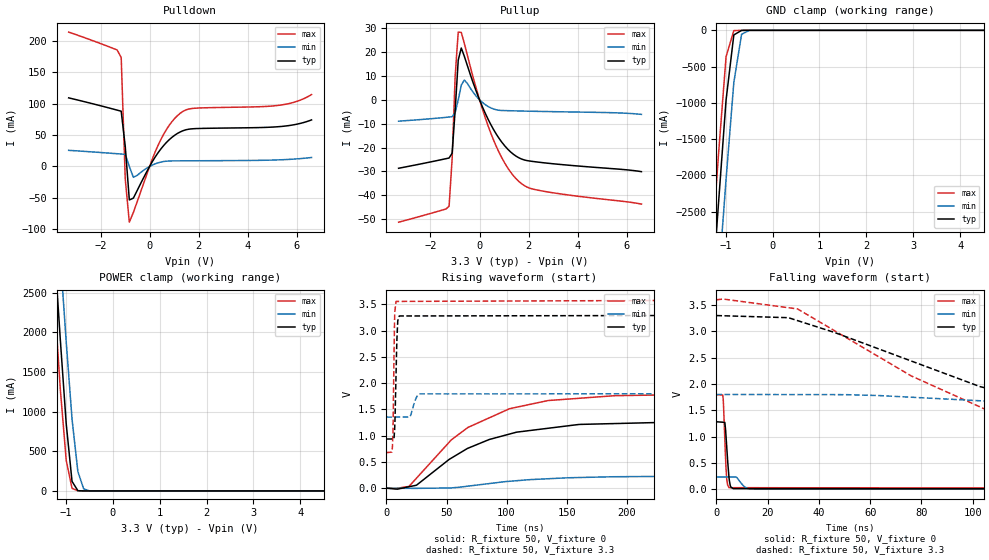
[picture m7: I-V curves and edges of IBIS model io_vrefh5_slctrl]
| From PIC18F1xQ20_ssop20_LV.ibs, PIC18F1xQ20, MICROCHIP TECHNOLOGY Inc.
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[Model] io_vrefh5_slctrl
Model_type I/O
Vinl  =  0.8
Vinh  =  2
| Capacitance   typ   min   max
C_comp   4.850306698388732e-12   4.837904529908394e-12   5.092470012429453e-12
[Model Spec]
| Subparameter   typ   min   max
Vinl   1.5   0.81   1.65
Vinh   3.6   1.89   3.85
Vmeas   2.5   1.35   2.75
| Variables   typ   min   max
[GND Clamp Reference]   0   0   0
[POWER Clamp Reference]   3.3   1.8   3.6
[Pulldown Reference]   0   0   0
[Pullup Reference]   3.3   1.8   3.6
[Temperature Range]   25   125   -40
[Voltage Range]   3.3   1.8   3.6
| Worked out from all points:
|   slope of the pulldown table from 0 to 0.495 V, typ, clamps not added: 16.7 ohm
|   slope of the pullup table from 0 to 0.495 V, typ, clamps not added: 44.8 ohm
|   GND clamp passes 1 mA (typ) near -0.66 V on its own axis
|   POWER clamp passes 1 mA (typ) near -0.65 V on its own axis
|   falling waveform, R_fixture 50, V_fixture 0: 20-80 % time 1.13ns typ, 2.45ns min, 903ps max; typ from 1.28 V to 0 V
|   falling waveform, R_fixture 50, V_fixture 3.3: 20-80 % time 93.3ns typ, 138ns min, 70.5ns max; typ from 3.3 V to 0.94 V
|   rising waveform, R_fixture 50, V_fixture 0: 20-80 % time 65.5ns typ, 69.6ns min, 63.2ns max; typ from 0 V to 1.28 V
|   rising waveform, R_fixture 50, V_fixture 3.3: 20-80 % time 1.48ns typ, 3.75ns min, 1.05ns max; typ from 0.936 V to 3.3 V
[GND Clamp]
| Voltage   I(typ)   I(min)   I(max)
-3.3V     -21.98A    -22.27A    -21.86A
-1.324V   -3.922A    -4.931A    -3.289A
-1.159V   -2.42A     -3.489A    -1.745A
-993.1mV  -960.5mA   -2.053A    -363.1mA
-827.6mV  -63.5mA    -718.7mA   -3.822mA
-662.1mV  -773.4uA   -54.56mA   -476.9uA
-496.6mV  -18.17uA   -720.2uA   -5.006uA
6.6V      0A         0A         0A
[POWER Clamp]
| Voltage   I(typ)   I(min)   I(max)
-3.3V     21.48A     21.8A      21.33A
-1.366V   4.118A     5.086A     3.518A
-1.241V   3.004A     4.014A     2.376A
-1.117V   1.891A     2.941A     1.268A
-993.1mV  844.7mA    1.878A     384.1mA
-869mV    120.2mA    905.4mA    32.61mA
-744.8mV  3.111mA    245mA      1.387mA
-620.7mV  347.3uA    25.54mA    378.5uA
-496.6mV  24.89uA    1.111mA    41.86uA
6.6V      0A         0A         0A
[Pulldown]
| Voltage   I(typ)   I(min)   I(max)
-3.3V     109.4mA    25.68mA    214.5mA
-1.324V   89.88mA    20.27mA    185.9mA
-1.159V   88.12mA    19.77mA    173.8mA
-993.1mV  31.88mA    19.25mA    -20.25mA
-827.6mV  -53.52mA   -38.86uA   -89.02mA
-662.1mV  -50.57mA   -17.43mA   -73.42mA
341.4mV   21.7mA     5.717mA    33.47mA
796.6mV   42.57mA    8.672mA    65.49mA
1.252V    55.15mA    8.913mA    85mA
1.821V    60.27mA    9.023mA    92.84mA
5.286V    63.53mA    10.51mA    97.64mA
6.6V      74.28mA    14.23mA    114.7mA
[Pullup]
| Voltage   I(typ)   I(min)   I(max)
-3.3V     -28.7mA    -8.944mA   -51.33mA
-1.241V   -24.41mA   -7.199mA   -44.6mA
-1.117V   -22.37mA   -7.062mA   -24.69mA
-993.1mV  -4.232mA   -5.311mA   10.1mA
-869mV    16.63mA    -60.81uA   28.44mA
-744.8mV  21.75mA    6.171mA    28.29mA
-620.7mV  18.28mA    8.311mA    23.71mA
455.2mV   -10.29mA   -3.355mA   -13.89mA
1.024V    -19.27mA   -4.499mA   -26.48mA
1.593V    -24.26mA   -4.657mA   -34.17mA
2.503V    -26.27mA   -4.856mA   -38.14mA
6.6V      -30.13mA   -6.092mA   -43.74mA
[Ramp]
dV/dt_r   0.768802/65.5176n  0.139526/69.6447n  1.07649/63.2451n
dV/dt_f   1.41629/93.3504n  0.266589/0.138413u  1.75185/70.5441n
R_load = 50
[Falling Waveform]
R_fixture = 50
V_fixture = 0
V_fixture_min = 0
V_fixture_max = 0
| Time   V(typ)   V(min)   V(max)
0s        1.281V     232.5mV    1.794V
2.511ns   1.272V     232.5mV    1.79V
2.833ns   1.271V     232.5mV    1.544V
3.309ns   1.269V     232.5mV    934.7mV
4.046ns   799.7mV    232.5mV    189.4mV
4.942ns   216.4mV    232.5mV    27.95mV
5.431ns   66.79mV    232.5mV    27.93mV
6.612ns   9.991mV    232.4mV    27.87mV
14.87ns   9.843mV    970.6uV    27.45mV
562.5ns   542.9nV    788.7nV    437.5nV
[Falling Waveform]
R_fixture = 50
V_fixture = 3.3
V_fixture_min = 1.8
V_fixture_max = 3.6
| Time   V(typ)   V(min)   V(max)
0s        3.3V       1.8V       3.6V
28.11ns   3.259V     1.798V     3.449V
31.67ns   3.204V     1.798V     3.426V
76.04ns   2.436V     1.748V     2.152V
102.9ns   1.949V     1.68V      1.563V
118.1ns   1.766V     1.642V     1.228V
143.6ns   1.461V     1.578V     968.7mV
187.1ns   1.164V     1.496V     828.7mV
242.7ns   1.042V     1.433V     755.1mV
562.5ns   939.5mV    1.356V     680.2mV
[Rising Waveform]
R_fixture = 50
V_fixture = 0
V_fixture_min = 0
V_fixture_max = 0
| Time   V(typ)   V(min)   V(max)
0s        -41.17pV   16.31nV    -61.35pV
18.75ns   27.19mV    -2.57mV    33.9mV
25ns      56.89mV    -3.061mV   191mV
54.07ns   573.9mV    5.738mV    921.9mV
67.88ns   760.7mV    39.13mV    1.157V
102.5ns   1.031V     131.5mV    1.513V
134.6ns   1.141V     179.8mV    1.669V
160.4ns   1.214V     203.1mV    1.711V
271.5ns   1.276V     229.9mV    1.788V
562.5ns   1.281V     232.5mV    1.794V
[Rising Waveform]
R_fixture = 50
V_fixture = 3.3
V_fixture_min = 1.8
V_fixture_max = 3.6
| Time   V(typ)   V(min)   V(max)
0s        936.3mV    1.353V     678.2mV
4.95ns    936.8mV    1.353V     776.9mV
5.602ns   936.9mV    1.353V     1.308V
6.713ns   1.084V     1.354V     3.153V
7.933ns   2.111V     1.354V     3.555V
9.414ns   3.186V     1.354V     3.555V
10.7ns    3.278V     1.354V     3.555V
19.68ns   3.278V     1.363V     3.556V
27.8ns    3.279V     1.795V     3.557V
562.5ns   3.3V       1.8V       3.6V
